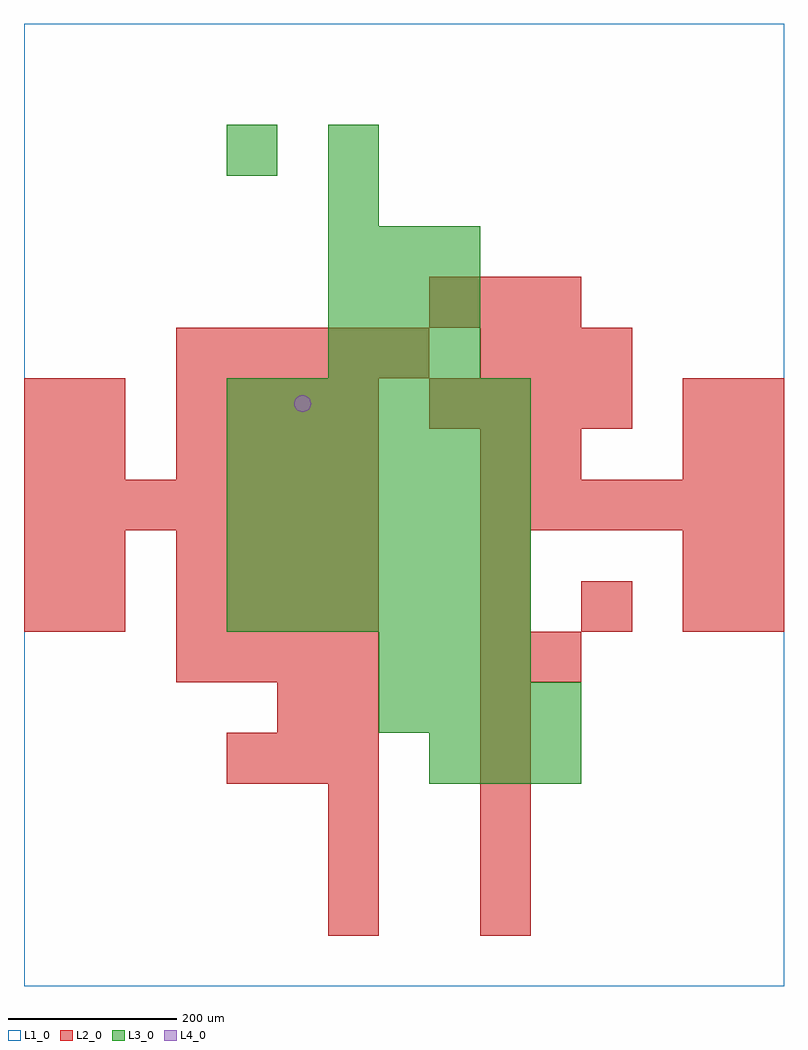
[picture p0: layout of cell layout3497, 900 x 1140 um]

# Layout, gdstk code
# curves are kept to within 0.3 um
import gdstk
lib = gdstk.Library(unit=1e-6, precision=1e-09)
def R(c, l, rs):  # rectangles x0, y0, x1, y1
    for r in rs: c.add(gdstk.rectangle(r[:2], r[2:], *l))
def A(c, l, x, y, w, h, nx, ny, dx, dy):  # array of equal rectangles
    R(c, l, [(x+i*dx, y+j*dy, x+i*dx+w, y+j*dy+h) for i in range(nx) for j in range(ny)])
def P(c, l, *ps):  # polygons
    for p in ps: c.add(gdstk.Polygon(p, *l))
L1_0 = (1, 0)
L2_0 = (2, 0)
L3_0 = (3, 0)
L4_0 = (4, 0)

layout3497 = lib.new_cell('layout3497')
R(layout3497, L1_0, [(0,0,900,1140)])
A(layout3497, L2_0, 360, 60, 60, 60, 1, 3, 0, 60)
A(layout3497, L2_0, 540, 60, 60, 60, 1, 6, 0, 60)
A(layout3497, L2_0, 240, 240, 60, 60, 3, 1, 60, 0)
A(layout3497, L2_0, 180, 360, 60, 60, 4, 3, 60, 60)
A(layout3497, L2_0, 540, 420, 60, 60, 3, 1, 120, 0)
A(layout3497, L2_0, 0, 540, 60, 60, 7, 1, 60, 0)
A(layout3497, L2_0, 540, 540, 60, 60, 6, 1, 60, 0)
A(layout3497, L2_0, 180, 600, 60, 60, 4, 2, 60, 60)
A(layout3497, L2_0, 480, 660, 60, 60, 4, 1, 60, 0)
A(layout3497, L2_0, 180, 720, 60, 60, 5, 1, 60, 0)
A(layout3497, L2_0, 540, 720, 60, 60, 3, 1, 60, 0)
A(layout3497, L2_0, 480, 780, 60, 60, 3, 1, 60, 0)
R(layout3497, L2_0, [(300,300,360,360), (360,300,420,360), (600,360,660,420), (0,420,60,480), (60,420,120,480), (840,420,900,480), (0,480,60,540), (60,480,120,540), (540,480,600,540), (780,480,840,540), (840,480,900,540), (0,600,60,660), (60,600,120,660), (540,600,600,660), (600,600,660,660), (780,600,840,660), (840,600,900,660), (0,660,60,720), (60,660,120,720), (780,660,840,720), (840,660,900,720)])
A(layout3497, L3_0, 480, 240, 60, 60, 3, 1, 60, 0)
A(layout3497, L3_0, 420, 300, 60, 60, 4, 1, 60, 0)
A(layout3497, L3_0, 420, 360, 60, 60, 3, 1, 60, 0)
A(layout3497, L3_0, 240, 420, 60, 60, 6, 5, 60, 60)
A(layout3497, L3_0, 360, 720, 60, 60, 3, 3, 60, 60)
R(layout3497, L3_0, [(360,900,420,960), (240,960,300,1020), (360,960,420,1020)])
P(layout3497, L4_0, [(340,690),(339.239,693.827),(337.071,697.071),(333.827,699.239),(330,700),(326.173,699.239),(322.929,697.071),(320.761,693.827),(320,690),(320.761,686.173),(322.929,682.929),(326.173,680.761),(330,680),(333.827,680.761),(337.071,682.929),(339.239,686.173)])

lib.write_gds('layout3497.gds')
